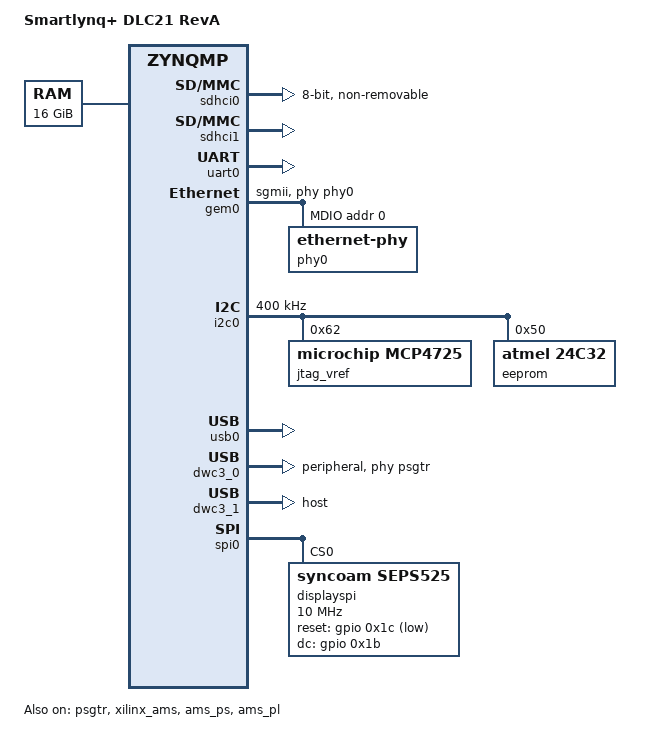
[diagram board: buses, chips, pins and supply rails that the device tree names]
// SPDX-License-Identifier: GPL-2.0
/*
 * dts file for Xilinx ZynqMP DLC21 revA
 *
 * (C) Copyright 2019 - 2021, Xilinx, Inc.
 *
 * Michal Simek <michal.simek@amd.com>
 */
/dts-v1/;

#include "zynqmp.dtsi"
#include "zynqmp-clk-ccf.dtsi"
#include <dt-bindings/gpio/gpio.h>
#include <dt-bindings/phy/phy.h>

/ {
	model = "Smartlynq+ DLC21 RevA";
	compatible = "xlnx,zynqmp-dlc21-revA", "xlnx,zynqmp-dlc21",
		     "xlnx,zynqmp";

	aliases {
		ethernet0 = &gem0;
		gpio0 = &gpio;
		i2c0 = &i2c0;
		mmc0 = &sdhci0;
		mmc1 = &sdhci1;
		rtc0 = &rtc;
		serial0 = &uart0;
		serial2 = &dcc;
		usb0 = &usb0;
		usb1 = &usb1;
		spi0 = &spi0;
		nvmem0 = &eeprom;
	};

	chosen {
		bootargs = "earlycon";
		stdout-path = "serial0:115200n8";
	};

	memory@0 {
		device_type = "memory";
		reg = <0 0 0 0x80000000>, <0x8 0 0x3 0x80000000>;
	};

	si5332_1: si5332-1 { /* clk0_sgmii - u142 */
		compatible = "fixed-clock";
		#clock-cells = <0>;
		clock-frequency = <125000000>;
	};

	si5332_2: si5332-2 { /* clk1_usb - u142 */
		compatible = "fixed-clock";
		#clock-cells = <0>;
		clock-frequency = <26000000>;
	};
};

&sdhci0 { /* emmc MIO 13-23 - with some settings  16GB */
	status = "okay";
	non-removable;
	disable-wp;
	bus-width = <8>;
	xlnx,mio-bank = <0>;
};

&sdhci1 { /* sd1 MIO45-51 cd in place */
	status = "okay";
	no-1-8-v;
	disable-wp;
	xlnx,mio-bank = <1>;
};

&psgtr {
	status = "okay";
	/* sgmii, usb3 */
	clocks = <&si5332_1>, <&si5332_2>;
	clock-names = "ref0", "ref1";
};

&uart0 { /* uart0 MIO38-39 */
	status = "okay";
	bootph-all;
};

&gem0 {
	status = "okay";
	phy-handle = <&phy0>;
	phy-mode = "sgmii"; /* DTG generates this properly  1512 */
	is-internal-pcspma;
	mdio: mdio {
		#address-cells = <1>;
		#size-cells = <0>;
		/* reset-gpios = <&gpio 142 GPIO_ACTIVE_LOW>; */
		phy0: ethernet-phy@0 {
			reg = <0>;
		};
	};
};

&gpio {
	status = "okay";
	gpio-line-names = "", "", "", "", "", /* 0 - 4 */
		  "", "", "", "", "", /* 5 - 9 */
		  "", "", "", "EMMC_DAT0", "EMMC_DAT1", /* 10 - 14 */
		  "EMMC_DAT2", "EMMC_DAT3", "EMMC_DAT4", "EMMC_DAT5", "EMMC_DAT6", /* 15 - 19 */
		  "EMMC_DAT7", "EMMC_CMD", "EMMC_CLK", "EMMC_RST_B", "", /* 20 - 24 */
		  "", "DISP_SCL", "DISP_DC_B", "DISP_RES_B", "DISP_CS_B", /* 25 - 29 */
		  "", "DISP_SDI", "SYSTEM_RST_R_B", "", "I2C0_SCL", /* 30 - 34 */
		  "I2C0_SDA", "", "", "UART0_RXD_IN", "UART0_TXD_OUT", /* 35 - 39 */
		  "", "", "ETH_RESET_B", "", "", /* 40 - 44 */
		  "SD1_CD_B", "SD1_DATA0", "SD1_DATA1", "SD1_DATA2", "SD1_DATA3", /* 45 - 49 */
		  "SD1_CMD", "SD1_CLK", "USB0_CLK", "USB0_DIR", "USB0_DATA2", /* 50 - 54 */
		  "USB0_NXT", "USB0_DATA0", "USB0_DATA1", "USB0_STP", "USB0_DATA3", /* 55 - 59 */
		  "USB0_DATA4", "USB0_DATA5", "USB0_DATA6", "USB0_DATA7", "USB1_CLK", /* 60 - 64 */
		  "USB1_DIR", "USB1_DATA2", "USB1_NXT", "USB1_DATA0", "USB1_DATA1", /* 65 - 69 */
		  "USB1_STP", "USB1_DATA3", "USB1_DATA4", "USB1_DATA5", "USB1_DATA6", /* 70 - 74 */
		  "USB1_DATA7", "ETH_MDC", "ETH_MDIO", /* 75 - 77, MIO end and EMIO start */
		  "", "", /* 78 - 79 */
		  "", "", "", "", "", /* 80 - 84 */
		  "", "", "", "", "", /* 85 -89 */
		  "", "", "", "", "", /* 90 - 94 */
		  "", "VCCO_500_RBIAS", "VCCO_501_RBIAS", "VCCO_502_RBIAS", "VCCO_500_RBIAS_LED", /* 95 - 99 */
		  "VCCO_501_RBIAS_LED", "VCCO_502_RBIAS_LED", "SYSCTLR_VCCINT_EN", "SYSCTLR_VCC_IO_SOC_EN", "SYSCTLR_VCC_PMC_EN", /* 100 - 104 */
		  "", "", "", "", "", /* 105 - 109 */
		  "SYSCTLR_VCCO_500_EN", "SYSCTLR_VCCO_501_EN", "SYSCTLR_VCCO_502_EN", "SYSCTLR_VCCO_503_EN", "SYSCTLR_VCC1V8_EN", /* 110 - 114 */
		  "SYSCTLR_VCC3V3_EN", "SYSCTLR_VCC1V2_DDR4_EN", "SYSCTLR_VCC1V1_LP4_EN", "SYSCTLR_VDD1_1V8_LP4_EN", "SYSCTLR_VADJ_FMC_EN", /* 115 - 119 */
		  "", "", "", "SYSCTLR_UTIL_1V13_EN", "SYSCTLR_UTIL_1V8_EN", /* 120 - 124 */
		  "SYSCTLR_UTIL_2V5_EN", "", "", "", "", /* 125 - 129 */
		  "", "", "SYSCTLR_USBC_SBU1", "SYSCTLR_USBC_SBU2", "", /* 130 - 134 */
		  "", "SYSCTLR_MIC2005_EN_B", "SYSCTLR_MIC2005_FAULT_B", "SYSCTLR_TUSB320_INT_B", "SYSCTLR_TUSB320_ID", /* 135 - 139 */
		  "", "", "SYSCTLR_ETH_RESET_B", "", "", /* 140 - 144 */
		  "", "", "", "", "", /* 145 - 149 */
		  "", "", "", "", "", /* 150 - 154 */
		  "", "", "", "", "", /* 155 - 159 */
		  "", "", "", "", "", /* 160 - 164 */
		  "", "", "", "", "", /* 165 - 169 */
		  "", "", "", ""; /* 170 - 173 */
};

&i2c0 { /* MIO34/35 */
	status = "okay";
	clock-frequency = <400000>;

	jtag_vref: mcp4725@62 {
		compatible = "microchip,mcp4725";
		reg = <0x62>;
		vref-millivolt = <3300>;
	};

	eeprom: eeprom@50 { /* u46 */
		compatible = "atmel,24c32";
		reg = <0x50>;
	};
	/* u138 - TUSB320IRWBR - for USB-C */
};

&usb0 {
	status = "okay";
};

&dwc3_0 {
	status = "okay";
	dr_mode = "peripheral";
	snps,dis_u2_susphy_quirk;
	snps,dis_u3_susphy_quirk;
	maximum-speed = "super-speed";
	phy-names = "usb3-phy";
	phys = <&psgtr 1 PHY_TYPE_USB3 0 1>;
};

&usb1 {
	status = "disabled"; /* Any unknown issue with USB-C */
};

&dwc3_1 {
	/delete-property/ phy-names ;
	/delete-property/ phys ;
	dr_mode = "host";
	maximum-speed = "high-speed";
	snps,dis_u2_susphy_quirk ;
	snps,dis_u3_susphy_quirk ;
	status = "okay";
};

&xilinx_ams {
	status = "okay";
};

&ams_ps {
	status = "okay";
};

&ams_pl {
	status = "okay";
};

&spi0 {
	status = "okay";
	is-decoded-cs = <0>;
	num-cs = <1>;
	bootph-all;
	displayspi@0 {
		compatible = "syncoam,seps525";
		bootph-all;
		reg = <0>;
		status = "okay";
		spi-max-frequency = <10000000>;
		spi-cpol;
		spi-cpha;
		rotate = <0>;
		fps = <50>;
		buswidth = <8>;
		txbuflen = <64000>;
		reset-gpios = <&gpio 0x1c GPIO_ACTIVE_LOW>;
		dc-gpios = <&gpio 0x1b GPIO_ACTIVE_HIGH>;
		debug = <0>;
	};
};
